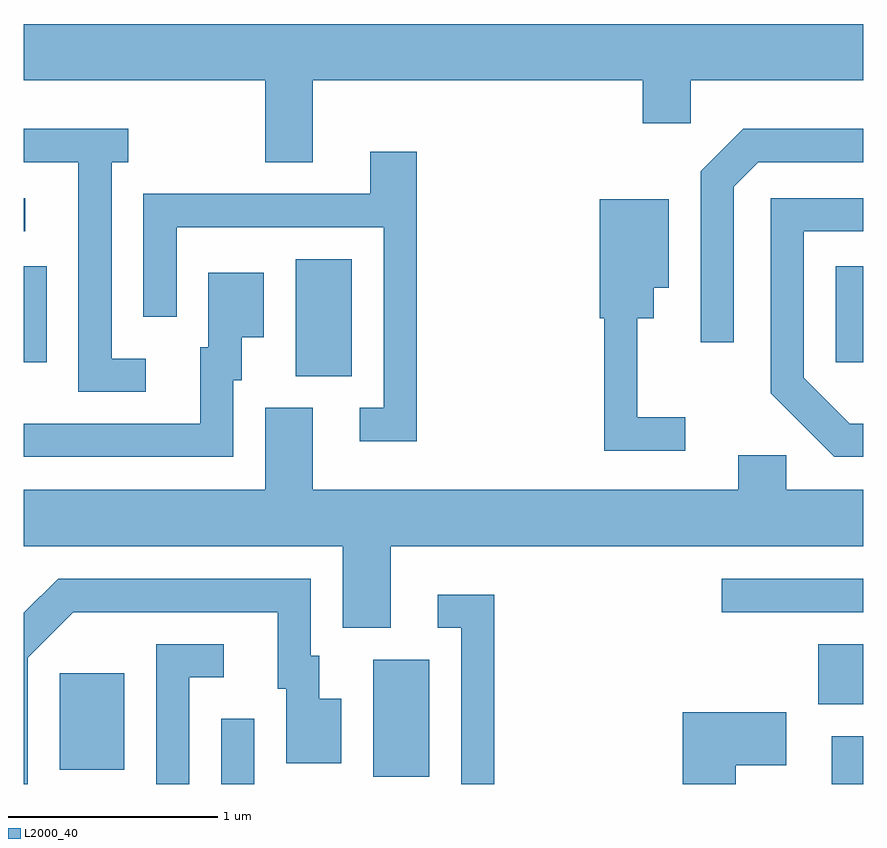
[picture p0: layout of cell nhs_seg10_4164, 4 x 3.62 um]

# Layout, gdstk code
import gdstk
lib = gdstk.Library(unit=1e-6, precision=1e-09)
def R(c, l, rs):  # rectangles x0, y0, x1, y1
    for r in rs: c.add(gdstk.rectangle(r[:2], r[2:], *l))
def P(c, l, *ps):  # polygons
    for p in ps: c.add(gdstk.Polygon(p, *l))
L2000_40 = (2000, 40)

nhs_seg10_4164 = lib.new_cell('nhs_seg10_4164')
R(nhs_seg10_4164, L2000_40, [(308.551,2150.522,308.709,2150.833), (311.461,2150.522,311.611,2150.749), (309.276,2150.556,309.544,2151.114), (307.781,2150.591,308.089,2151.049), (311.396,2150.901,311.611,2151.189), (310.938,2151.341,311.611,2151.499), (308.906,2152.466,309.174,2153.024), (307.611,2152.531,307.719,2152.989), (311.481,2152.531,311.611,2152.989), (307.611,2153.156,307.618,2153.314)])
P(nhs_seg10_4164, L2000_40, [(308.989,2153.876),(310.561,2153.876),(310.561,2153.671),(310.789,2153.671),(310.789,2153.876),(311.611,2153.876),(311.611,2154.144),(307.611,2154.144),(307.611,2153.876),(308.761,2153.876),(308.761,2153.486),(308.989,2153.486)],
  [(308.193,2152.549),(308.029,2152.549),(308.029,2153.486),(308.108,2153.486),(308.108,2153.644),(307.611,2153.644),(307.611,2153.486),(307.871,2153.486),(307.871,2152.391),(308.193,2152.391)],
  [(310.994,2153.369),(311.112,2153.486),(311.611,2153.486),(311.611,2153.644),(311.039,2153.644),(310.836,2153.442),(310.836,2152.628),(310.994,2152.628)],
  [(309.484,2153.534),(309.261,2153.534),(309.261,2153.334),(308.181,2153.334),(308.181,2152.748),(308.339,2152.748),(308.339,2153.176),(309.326,2153.176),(309.326,2152.314),(309.213,2152.314),(309.213,2152.156),(309.484,2152.156)],
  [(311.611,2152.239),(311.547,2152.239),(311.329,2152.457),(311.329,2153.156),(311.611,2153.156),(311.611,2153.314),(311.171,2153.314),(311.171,2152.384),(311.474,2152.081),(311.611,2152.081)],
  [(310.763,2152.269),(310.534,2152.269),(310.534,2152.741),(310.614,2152.741),(310.614,2152.886),(310.684,2152.886),(310.684,2153.309),(310.356,2153.309),(310.356,2152.741),(310.376,2152.741),(310.376,2152.111),(310.763,2152.111)],
  [(308.609,2152.446),(308.649,2152.446),(308.649,2152.651),(308.754,2152.651),(308.754,2152.959),(308.491,2152.959),(308.491,2152.604),(308.451,2152.604),(308.451,2152.239),(307.611,2152.239),(307.611,2152.081),(308.609,2152.081)],
  [(308.989,2152.314),(308.761,2152.314),(308.761,2151.924),(307.611,2151.924),(307.611,2151.656),(309.131,2151.656),(309.131,2151.266),(309.359,2151.266),(309.359,2151.656),(311.611,2151.656),(311.611,2151.924),(311.244,2151.924),(311.244,2152.089),(311.016,2152.089),(311.016,2151.924),(308.989,2151.924)],
  [(307.629,2151.124),(307.847,2151.341),(308.821,2151.341),(308.821,2150.976),(308.861,2150.976),(308.861,2150.621),(309.124,2150.621),(309.124,2150.929),(309.019,2150.929),(309.019,2151.134),(308.979,2151.134),(308.979,2151.499),(307.774,2151.499),(307.611,2151.337),(307.611,2150.522),(307.629,2150.522)],
  [(309.854,2151.424),(309.583,2151.424),(309.583,2151.266),(309.696,2151.266),(309.696,2150.522),(309.854,2150.522)],
  [(308.399,2151.031),(308.563,2151.031),(308.563,2151.189),(308.241,2151.189),(308.241,2150.522),(308.399,2150.522)],
  [(311.004,2150.611),(311.244,2150.611),(311.244,2150.864),(310.751,2150.864),(310.751,2150.522),(311.004,2150.522)])

lib.write_gds('nhs_seg10_4164.gds')
